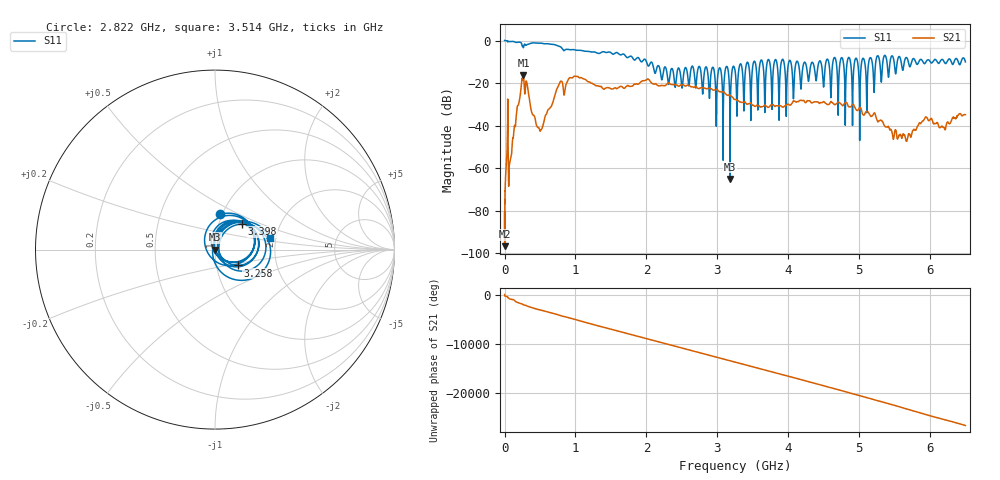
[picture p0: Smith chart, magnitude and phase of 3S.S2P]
!Keysight Technologies,E5063A,MY54503115,A.05.08
!Date: Mon Mar 04 16:06:29 2024
!Data & Calibration Information:
!Freq	S11:NONE(--)	S21:NONE(--)	S12:NONE(--)	S22:NONE(--)
# Hz S dB R 50
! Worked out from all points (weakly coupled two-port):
!   10001 points, 100 kHz to 6.5 GHz, reference 50 ohm
!   highest |S21| = -16.16 dB at 265.3 MHz (marker M1); lowest = -96.6 dB at 1.4 MHz (marker M2)
!   lowest |S11| = -65.1 dB at 3.181 GHz (marker M3), VSWR 1.00, Z = 50 + j0.0371 ohm
!   |S11| at or under -10 dB: 2.001 GHz to 3.514 GHz (1.513 GHz wide, 54.9 % of centre); 4.037 GHz to 4.116 GHz (79.74 MHz wide, 1.96 % of centre); 4.136 GHz to 4.436 GHz (300.3 MHz wide, 7.01 % of centre) (the widest 3 of 29)
!   S12 and S22 are empty: the file has one direction only
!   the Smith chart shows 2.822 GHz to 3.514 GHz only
!   S11 on the Smith chart (normalised r, x): 2.822 GHz: 0.98, +0.40; 3.258 GHz: 1.26, -0.23; 3.398 GHz: 1.29, +0.38; 3.514 GHz: 1.87, +0.26
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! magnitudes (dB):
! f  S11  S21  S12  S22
! 100 kHz  0.0  -90.4  -  -
! 1.4 MHz  0.0  -96.6  -  -
! 40.4 MHz  -0.2  -43.2  -  -
! 84.6 MHz  -0.5  -55.2  -  -
! 265.3 MHz  -3.4  -16.2  -  -
! 501.2 MHz  -1.2  -42.6  -  -
! 779.4 MHz  -2.8  -19.7  -  -
! 1.084 GHz  -4.7  -17.5  -  -
! 2.167 GHz  -11.8  -21.2  -  -
! 2.822 GHz  -14.1  -22.4  -  -
! 3.082 GHz  -56.2  -24.0  -  -
! 3.133 GHz  -12.1  -25.5  -  -
! 3.181 GHz  -65.1  -25.9  -  -
! 3.25 GHz  -14.0  -27.6  -  -
! 3.258 GHz  -16.3  -27.7  -  -
! 3.398 GHz  -13.7  -29.2  -  -
! 3.514 GHz  -10.0  -30.5  -  -
! 4.334 GHz  -10.3  -29.3  -  -
! 5.417 GHz  -17.1  -40.4  -  -
! 5.675 GHz  -8.2  -46.9  -  -
! 5.935 GHz  -10.5  -36.0  -  -
! 6.5 GHz  -10.0  -34.9  -  -
